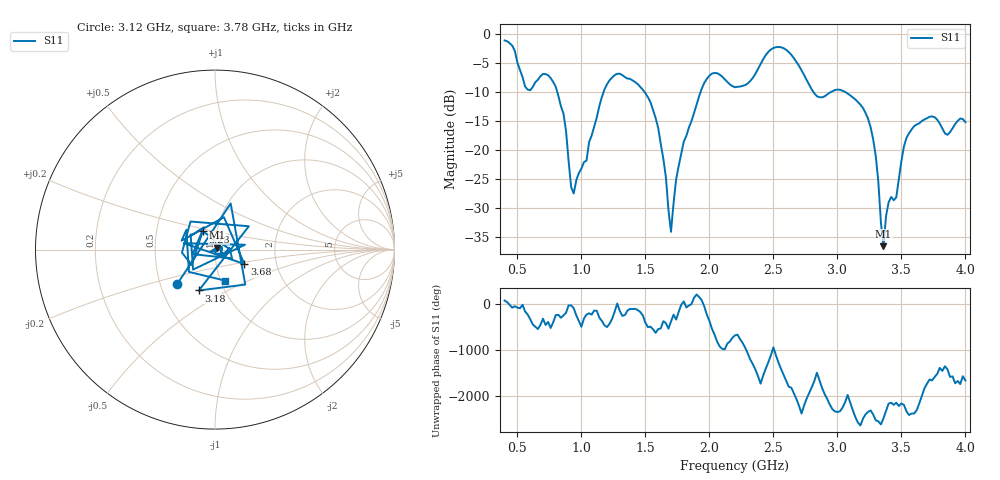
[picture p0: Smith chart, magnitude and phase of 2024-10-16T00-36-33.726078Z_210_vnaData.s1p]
! Created with skrf (http://scikit-rf.org).
# Hz S RI R 50.0
!freq ReS11 ImS11
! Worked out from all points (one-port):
!   181 points, 400 MHz to 4 GHz, reference 50 ohm
!   lowest |S11| = -36.6 dB at 3.36 GHz (marker M1), VSWR 1.03, Z = 51.1 + j1.07 ohm
!   |S11| at or under -10 dB: 810.9 MHz to 1.174 GHz (363.1 MHz wide, 36.6 % of centre); 1.492 GHz to 1.932 GHz (440 MHz wide, 25.7 % of centre); 3.058 GHz to end of sweep (the widest 3 of 4)
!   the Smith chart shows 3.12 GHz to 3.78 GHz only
!   S11 on the Smith chart (normalised r, x): 3.12 GHz: 0.61, -0.25; 3.18 GHz: 0.76, -0.37; 3.28 GHz: 0.85, +0.18; 3.68 GHz: 1.37, -0.23; 3.78 GHz: 1.05, -0.38
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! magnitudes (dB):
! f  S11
! 400 MHz  -1.2
! 560 MHz  -9.1
! 740 MHz  -7.2
! 860 MHz  -13.8
! 940 MHz  -27.5
! 1.18 GHz  -9.6
! 1.3 GHz  -6.9
! 1.56 GHz  -13.1
! 1.64 GHz  -21.5
! 1.7 GHz  -34.1
! 1.76 GHz  -22.8
! 1.98 GHz  -7.8
! 2.2 GHz  -9.2
! 2.5 GHz  -2.5
! 2.66 GHz  -4.2
! 2.84 GHz  -10.8
! 3.1 GHz  -10.6
! 3.12 GHz  -11.0
! 3.18 GHz  -12.2
! 3.28 GHz  -18.2
! 3.36 GHz  -36.6
! 3.4 GHz  -29.1
! 3.46 GHz  -28.2
! 3.56 GHz  -17.1
! 3.68 GHz  -14.8
! 3.78 GHz  -14.8
! 3.86 GHz  -17.4
! 4 GHz  -15.2
